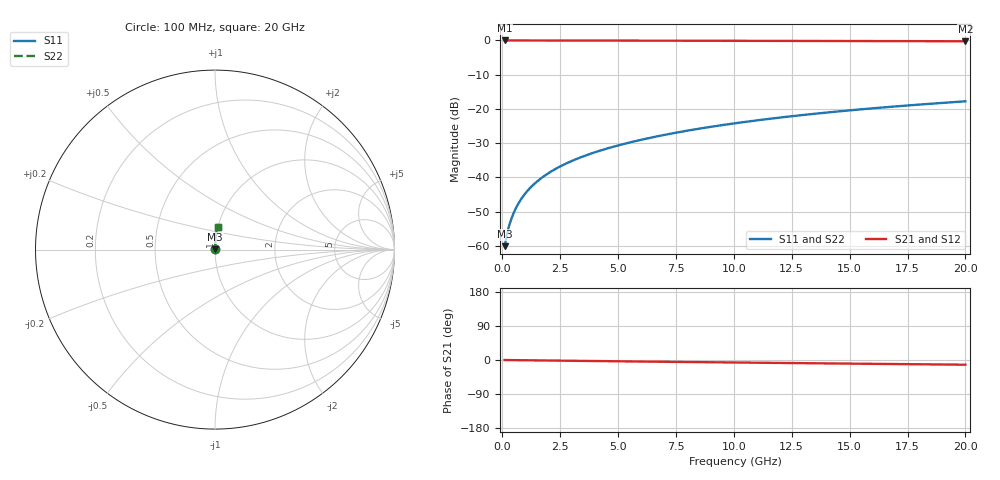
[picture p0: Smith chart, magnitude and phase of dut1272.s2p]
! Touchstone file exported from HFSS 2024.1.0
!  File:  C:/UserFiles/LocalFiles/RDL_TSV_Batchsim/temp_RDL_bottom_1272_1780246315.aedt
!  Generated:  12:54:06 AM Jun  1, 2026
!  Design:  RDL_bottom
!  Project:  temp_RDL_bottom_1272_1780246315
!  Setup:  Setup1
!  Solution:  Sweep
! Variables:
!  dtsv = 10.80580581um
!  hbump = 3um
!  htsv = 72.88um
!  ldown = 167.57um
!  lrdl = 100um
!  p = 40
!  p1 = 40.97um
!  rhole = 1um
!  t = 450um
!  tdown = 4.93um
!  trdl = 3.915915916um
!  wdown = 19.63um
!  wrdl = 20um
# GHz S MA R 50.000000
! Terminal data exported
! Port[1] = RDL1_T1
! Port[2] = RDL1_T2
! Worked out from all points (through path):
!   200 points, 100 MHz to 20 GHz, reference 50 ohm
!   highest |S21| = -0.01 dB at 100 MHz (marker M1); lowest = -0.2 dB at 20 GHz (marker M2)
!   group delay of S21, straight-line fit = 1.71 ps
!   lowest |S11| = -60.1 dB at 100 MHz (marker M3), VSWR 1.00, Z = 50.1 + j0.0636 ohm
!   |S11| at or under -10 dB: start of sweep to end of sweep
!   |S22| runs from -60.1 to -17.8 dB; largest |S21 - S12| = 4e-15
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0.1  0.0009925 39.8  0.9992 -0.1  0.9992 -0.1  0.0009925 39.8
! Gamma 0 0 0 0
! Port Impedance 50 0 50 0
0.2  0.001476 56.9  0.9992 -0.1  0.9992 -0.1  0.001476 56.9
0.3  0.002001 65.2  0.9991 -0.2  0.9991 -0.2  0.002001 65.2
0.4  0.002537 70.1  0.9991 -0.3  0.9991 -0.3  0.002537 70.1
0.5  0.003081 73.4  0.9991 -0.4  0.9991 -0.4  0.003081 73.5
0.6  0.003631 75.9  0.999 -0.4  0.999 -0.4  0.003631 75.9
0.8  0.004745 79.1  0.9989 -0.6  0.9989 -0.6  0.004745 79.1
1.1  0.00644 82.0  0.9988 -0.8  0.9988 -0.8  0.00644 82.0
1.5  0.00872 84.2  0.9986 -1.1  0.9986 -1.1  0.00872 84.2
1.8  0.01044 85.2  0.9984 -1.3  0.9984 -1.3  0.01044 85.2
2.1  0.01217 85.9  0.9981 -1.5  0.9981 -1.5  0.01217 85.9
2.7  0.01565 87.0  0.9976 -1.9  0.9976 -1.9  0.01565 87.0
3.5  0.02033 87.9  0.9967 -2.4  0.9967 -2.4  0.02033 87.9
4.2  0.02448 88.4  0.9958 -2.9  0.9958 -2.9  0.02448 88.4
5  0.02931 88.8  0.9947 -3.4  0.9947 -3.4  0.02931 88.8
5.9  0.03485 89.0  0.9934 -4.0  0.9934 -4.0  0.03485 89.0
6.8  0.04051 89.1  0.992 -4.6  0.992 -4.6  0.04051 89.1
8.4  0.05084 88.9  0.9895 -5.6  0.9895 -5.6  0.05084 88.9
10.1  0.0621 88.4  0.9869 -6.6  0.9869 -6.6  0.0621 88.4
13.4  0.08443 86.7  0.982 -8.6  0.982 -8.6  0.08444 86.7
16.7  0.1069 84.6  0.9773 -10.5  0.9773 -10.5  0.1069 84.6
20  0.1292 82.3  0.9727 -12.4  0.9727 -12.4  0.1292 82.3
